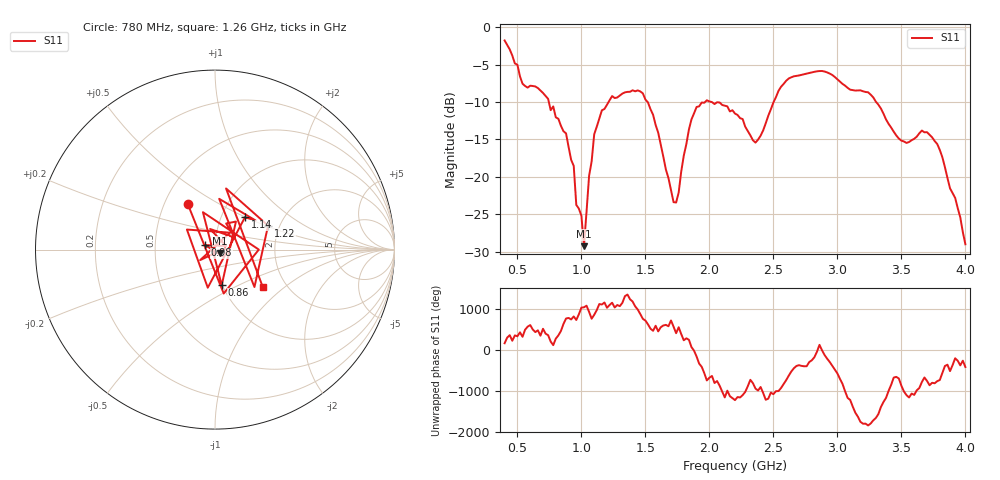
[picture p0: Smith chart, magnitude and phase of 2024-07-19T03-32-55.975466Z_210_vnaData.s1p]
!Created with skrf (http://scikit-rf.org).
# Hz S RI R 50.0
!freq ReS11 ImS11
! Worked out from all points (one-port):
!   181 points, 400 MHz to 4 GHz, reference 50 ohm
!   lowest |S11| = -29.3 dB at 1.02 GHz (marker M1), VSWR 1.07, Z = 53 - j1.95 ohm
!   |S11| at or under -10 dB: 745.5 MHz to 1.212 GHz (467 MHz wide, 47.7 % of centre); 2.017 GHz to 2.502 GHz (485.4 MHz wide, 21.5 % of centre); 3.302 GHz to end of sweep (the widest 3 of 4)
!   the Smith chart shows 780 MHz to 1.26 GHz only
!   S11 on the Smith chart (normalised r, x): 780 MHz: 0.66, +0.36; 860 MHz: 0.99, -0.41; 980 MHz: 0.89, +0.05; 1.14 GHz: 1.29, +0.50; 1.22 GHz: 1.74, +0.52; 1.26 GHz: 1.52, -0.71
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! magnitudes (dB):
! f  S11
! 400 MHz  -1.8
! 540 MHz  -7.6
! 780 MHz  -10.6
! 860 MHz  -13.9
! 940 MHz  -18.5
! 960 MHz  -23.8
! 980 MHz  -24.3
! 1.02 GHz  -29.3
! 1.06 GHz  -19.9
! 1.1 GHz  -14.3
! 1.14 GHz  -12.2
! 1.22 GHz  -9.8
! 1.26 GHz  -9.5
! 1.3 GHz  -9.1
! 1.48 GHz  -8.8
! 1.6 GHz  -14.1
! 1.72 GHz  -23.4
! 1.76 GHz  -22.1
! 1.84 GHz  -13.7
! 1.9 GHz  -10.7
! 2.2 GHz  -11.6
! 2.36 GHz  -15.4
! 2.66 GHz  -6.6
! 3.1 GHz  -8.4
! 3.24 GHz  -8.7
! 3.56 GHz  -15.3
! 3.78 GHz  -15.6
! 4 GHz  -29.0
